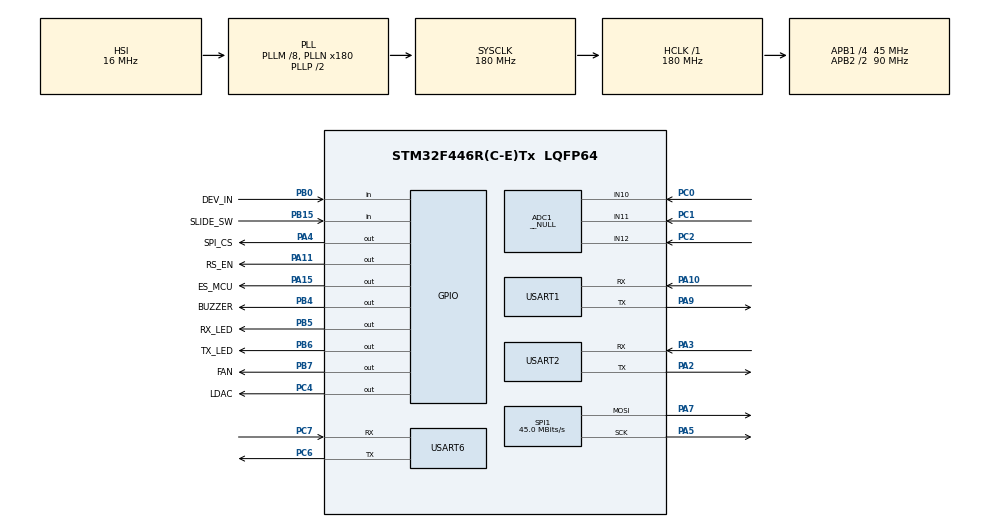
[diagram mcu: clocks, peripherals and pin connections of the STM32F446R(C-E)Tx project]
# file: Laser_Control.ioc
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ADC1.Channel-0\#ChannelRegularConversion=ADC_CHANNEL_10
ADC1.Channel-1\#ChannelRegularConversion=ADC_CHANNEL_11
ADC1.Channel-2\#ChannelRegularConversion=ADC_CHANNEL_12
ADC1.Channel-3\#ChannelRegularConversion=ADC_CHANNEL_VREFINT
ADC1.ClockPrescaler=ADC_CLOCK_SYNC_PCLK_DIV6
ADC1.ContinuousConvMode=ENABLE
ADC1.DMAContinuousRequests=ENABLE
ADC1.InjNumberOfConversion=0
ADC1.Mode=__NULL
ADC1.NbrOfConversion=4
ADC1.NbrOfConversionFlag=1
ADC1.Rank-0\#ChannelRegularConversion=1
ADC1.Rank-1\#ChannelRegularConversion=2
ADC1.Rank-2\#ChannelRegularConversion=3
ADC1.Rank-3\#ChannelRegularConversion=4
ADC1.SamplingTime-0\#ChannelRegularConversion=ADC_SAMPLETIME_144CYCLES
ADC1.SamplingTime-1\#ChannelRegularConversion=ADC_SAMPLETIME_144CYCLES
ADC1.SamplingTime-2\#ChannelRegularConversion=ADC_SAMPLETIME_144CYCLES
ADC1.SamplingTime-3\#ChannelRegularConversion=ADC_SAMPLETIME_144CYCLES
ADC1.ScanConvMode=ENABLE
ADC1.master=1
Dma.ADC1.0.Direction=DMA_PERIPH_TO_MEMORY
Dma.ADC1.0.FIFOMode=DMA_FIFOMODE_DISABLE
Dma.ADC1.0.Instance=DMA2_Stream0
Dma.ADC1.0.MemDataAlignment=DMA_MDATAALIGN_WORD
Dma.ADC1.0.MemInc=DMA_MINC_ENABLE
Dma.ADC1.0.Mode=DMA_CIRCULAR
Dma.ADC1.0.PeriphDataAlignment=DMA_PDATAALIGN_WORD
Dma.ADC1.0.PeriphInc=DMA_PINC_DISABLE
Dma.ADC1.0.Priority=DMA_PRIORITY_HIGH
Dma.Request0=ADC1
Mcu.Family=STM32F4
Mcu.Name=STM32F446R(C-E)Tx
Mcu.Package=LQFP64
NVIC.DMA2_Stream0_IRQn=true\:0\:0\:false\:false\:true\:false\:true\:true
NVIC.PriorityGroup=NVIC_PRIORITYGROUP_4
NVIC.TIM6_DAC_IRQn=true\:0\:0\:false\:false\:true\:true\:true\:true
NVIC.USART1_IRQn=true\:0\:0\:false\:false\:true\:true\:true\:true
NVIC.USART2_IRQn=true\:0\:0\:false\:false\:true\:true\:true\:true
NVIC.USART6_IRQn=true\:0\:0\:false\:false\:true\:true\:true\:true
PA10.Mode=Asynchronous
PA10.Signal=USART1_RX
PA11.GPIO_Label=RS_EN
PA11.Signal=GPIO_Output
PA13.Mode=Serial_Wire
PA13.Signal=SYS_JTMS-SWDIO
PA14.Mode=Serial_Wire
PA14.Signal=SYS_JTCK-SWCLK
PA15.GPIO_Label=ES_MCU
PA15.Signal=GPIO_Output
PA2.Mode=Asynchronous
PA2.Signal=USART2_TX
PA3.Mode=Asynchronous
PA3.Signal=USART2_RX
PA4.GPIO_Label=SPI_CS
PA4.Signal=GPIO_Output
PA5.Mode=TX_Only_Simplex_Unidirect_Master
PA5.Signal=SPI1_SCK
PA7.Mode=TX_Only_Simplex_Unidirect_Master
PA7.Signal=SPI1_MOSI
PA9.Mode=Asynchronous
PA9.Signal=USART1_TX
PB0.GPIO_Label=DEV_IN
PB0.Signal=GPIO_Input
PB15.GPIO_Label=SLIDE_SW
PB15.Signal=GPIO_Input
PB4.GPIO_Label=BUZZER
PB4.Signal=GPIO_Output
PB5.GPIO_Label=RX_LED
PB5.Signal=GPIO_Output
PB6.GPIO_Label=TX_LED
PB6.Signal=GPIO_Output
PB7.GPIO_Label=FAN
PB7.Signal=GPIO_Output
PC0.Signal=ADCx_IN10
PC1.Signal=ADCx_IN11
PC2.Signal=ADCx_IN12
PC4.GPIO_Label=LDAC
PC4.Signal=GPIO_Output
PC6.Mode=Asynchronous
PC6.Signal=USART6_TX
PC7.Mode=Asynchronous
PC7.Signal=USART6_RX
ProjectManager.HeapSize=0x200
ProjectManager.StackSize=0x400
ProjectManager.TargetToolchain=STM32CubeIDE
RCC.AHBFreq_Value=180000000
RCC.APB1CLKDivider=RCC_HCLK_DIV4
RCC.APB1Freq_Value=45000000
RCC.APB1TimFreq_Value=90000000
RCC.APB2CLKDivider=RCC_HCLK_DIV2
RCC.APB2Freq_Value=90000000
RCC.APB2TimFreq_Value=180000000
RCC.CortexFreq_Value=180000000
RCC.HCLKFreq_Value=180000000
RCC.PLLM=8
RCC.PLLN=180
RCC.SYSCLKFreq_VALUE=180000000
RCC.SYSCLKSource=RCC_SYSCLKSOURCE_PLLCLK
RCC.USBFreq_Value=180000000
RCC.VCOOutputFreq_Value=360000000
SH.ADCx_IN10.0=ADC1_IN10,IN10
SH.ADCx_IN11.0=ADC1_IN11,IN11
SH.ADCx_IN12.0=ADC1_IN12,IN12
SPI1.BaudRatePrescaler=SPI_BAUDRATEPRESCALER_2
SPI1.CalculateBaudRate=45.0 MBits/s
SPI1.Direction=SPI_DIRECTION_2LINES
SPI1.Mode=SPI_MODE_MASTER
SPI1.VirtualType=VM_MASTER
TIM6.AutoReloadPreload=TIM_AUTORELOAD_PRELOAD_ENABLE
TIM6.Period=1000
TIM6.Prescaler=1800
USART1.VirtualMode=VM_ASYNC
USART2.VirtualMode=VM_ASYNC
USART6.VirtualMode=VM_ASYNC
VP_ADC1_Vref_Input.Mode=IN-Vrefint
VP_TIM6_VS_ClockSourceINT.Mode=Enable_Timer
board=custom

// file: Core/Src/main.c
/* USER CODE BEGIN Header */
/**
  ******************************************************************************
  * @file           : main.c
  * @brief          : Main program body
  ******************************************************************************
  * @attention
  *
  * Copyright (c) 2023 STMicroelectronics.
  * All rights reserved.
  *
  * This software is licensed under terms that can be found in the LICENSE file
  * in the root directory of this software component.
  * If no LICENSE file comes with this software, it is provided AS-IS.
  *
  ******************************************************************************
  */
/* USER CODE END Header */
#include "main.h"
#include "adc.h"
#include "dma.h"
#include "spi.h"
#include "tim.h"
#include "usart.h"
#include "gpio.h"

/* USER CODE BEGIN Includes */
#include "SerialHandler.h"
#include "peripherals.h"
#include "MessageHandler.h"
#include "stdlib.h"
/* USER CODE END Includes */

/* USER CODE BEGIN PD */
#define VREFIN_CAL ((uint16_t*)((uint32_t)0x1FFF7A2A))
/* USER CODE END PD */

void SystemClock_Config(void);
/* USER CODE BEGIN PFP */

void ADC_Average_Measurement_Calculator();
float PT500_Real_Temperature_Value_Calculation();
float Voltage_Conversion();
float Current_Conversion();
void Temperature_Fail_Check();
void Short_Circuit_Check();
/* USER CODE END PFP */

/* USER CODE BEGIN 0 */
extern  uint32_t gADC_Val[4];

uint16_t gMeasurments_Values[100][3];
uint8_t gMeasurments_counter=0;
uint32_t gMeasurments_avgValue[3];
uint8_t gTemp_State=0;
uint8_t gCurrent_State=0;

float OPAMP_Temperature;
float OPAMP_Voltage;
float OPAMP_Current;

float gTemp;
uint8_t Mode_Flag;
volatile uint8_t gSlope[250];
uint32_t iCounter=0;
uint8_t gCoefficient=0;
uint8_t tPer;
/* USER CODE END 0 */

int main(void)
{

  /* MCU Configuration--------------------------------------------------------*/

  /* Reset of all peripherals, Initializes the Flash interface and the Systick. */
  HAL_Init();

  /* Configure the system clock */
  SystemClock_Config();

  /* Initialize all configured peripherals */
  MX_GPIO_Init();
  MX_SPI1_Init();
  MX_USART1_UART_Init();
  MX_USART2_UART_Init();
  MX_DMA_Init();
  MX_TIM6_Init();
  MX_USART6_UART_Init();
  MX_ADC1_Init();
  /* USER CODE BEGIN 2 */
  Init_UartHandler(Init_USB_Uart, &huart6);
  Init_UartHandler(Init_RS485_Uart, &huart1);
  Init_UartHandler(Init_RS232_Uart, &huart2);
  HAL_TIM_Base_Start_IT(&htim6);
  /* USER CODE END 2 */

  /* Infinite loop */
  /* USER CODE BEGIN WHILE */
  uint32_t tLapTime = 0;
  HAL_GPIO_WritePin(BUZZER_GPIO_Port, BUZZER_Pin, GPIO_PIN_SET);
  HAL_Delay(100);
  HAL_GPIO_WritePin(BUZZER_GPIO_Port, BUZZER_Pin, GPIO_PIN_RESET);

  HAL_GPIO_WritePin(ES_MCU_GPIO_Port, ES_MCU_Pin, GPIO_PIN_RESET);

  HAL_ADC_Start_DMA(&hadc1, gADC_Val, 4);

  HAL_Delay(100);

  uint8_t j;

  for(j=0;j<=100;j++)
  {
	  ADC_Average_Measurement_Calculator();
  }

  while (1)
  {
	  ADC_Average_Measurement_Calculator();
	  OPAMP_Temperature=PT500_Real_Temperature_Value_Calculation();
	  OPAMP_Voltage=Voltage_Conversion();
	  OPAMP_Current=Current_Conversion();

	  IO_check_timeout();
	  HandleMessage(&gUSB_CommStruct);
	  char * ptr = strstr(gRS232_CommStruct.buffer, "Temp:");

	  if(NULL != ptr)
	  	  {
	  		  HAL_Delay(50);
	  		  uint32_t temp = strtol(ptr + 6, NULL, 10);
	  		  gTemp = (float)(((float)temp - 2732.00) / 10.00);
	  		  printf("IR_Temp: %.02f\r\n", gTemp);
	  		  UartHandler_ClearBuffer(RS232_Uart_Handler);
	  		  Laser_Target_Temp_Check();

	  	  }

	  if(HAL_GetTick() - tLapTime > 1000)
	  {
		  printf("Current: %.3f,Output Voltage: %.3f,OPAMP Temp: %.3f Celsius\r\n", OPAMP_Current, OPAMP_Voltage, OPAMP_Temperature);
		  tLapTime = HAL_GetTick();
	  }

	  Temperature_Fail_Check();
	  Short_Circuit_Check();

    /* USER CODE END WHILE */

  }
}

void SystemClock_Config(void)
{
  RCC_OscInitTypeDef RCC_OscInitStruct = {0};
  RCC_ClkInitTypeDef RCC_ClkInitStruct = {0};

  /** Configure the main internal regulator output voltage
  */
  __HAL_RCC_PWR_CLK_ENABLE();
  __HAL_PWR_VOLTAGESCALING_CONFIG(PWR_REGULATOR_VOLTAGE_SCALE1);

  /** Initializes the RCC Oscillators according to the specified parameters
  * in the RCC_OscInitTypeDef structure.
  */
  RCC_OscInitStruct.OscillatorType = RCC_OSCILLATORTYPE_HSI;
  RCC_OscInitStruct.HSIState = RCC_HSI_ON;
  RCC_OscInitStruct.HSICalibrationValue = RCC_HSICALIBRATION_DEFAULT;
  RCC_OscInitStruct.PLL.PLLState = RCC_PLL_ON;
  RCC_OscInitStruct.PLL.PLLSource = RCC_PLLSOURCE_HSI;
  RCC_OscInitStruct.PLL.PLLM = 8;
  RCC_OscInitStruct.PLL.PLLN = 180;
  RCC_OscInitStruct.PLL.PLLP = RCC_PLLP_DIV2;
  RCC_OscInitStruct.PLL.PLLQ = 2;
  RCC_OscInitStruct.PLL.PLLR = 2;
  if (HAL_RCC_OscConfig(&RCC_OscInitStruct) != HAL_OK)
  {
    Error_Handler();
  }

  /** Activate the Over-Drive mode
  */
  if (HAL_PWREx_EnableOverDrive() != HAL_OK)
  {
    Error_Handler();
  }

  /** Initializes the CPU, AHB and APB buses clocks
  */
  RCC_ClkInitStruct.ClockType = RCC_CLOCKTYPE_HCLK|RCC_CLOCKTYPE_SYSCLK
                              |RCC_CLOCKTYPE_PCLK1|RCC_CLOCKTYPE_PCLK2;
  RCC_ClkInitStruct.SYSCLKSource = RCC_SYSCLKSOURCE_PLLCLK;
  RCC_ClkInitStruct.AHBCLKDivider = RCC_SYSCLK_DIV1;
  RCC_ClkInitStruct.APB1CLKDivider = RCC_HCLK_DIV4;
  RCC_ClkInitStruct.APB2CLKDivider = RCC_HCLK_DIV2;

  if (HAL_RCC_ClockConfig(&RCC_ClkInitStruct, FLASH_LATENCY_5) != HAL_OK)
  {
    Error_Handler();
  }
}

/* USER CODE BEGIN 4 */
void HAL_TIM_PeriodElapsedCallback(TIM_HandleTypeDef *htim)
{
  if(htim == &htim6)
  {
	  HAL_GPIO_WritePin(RX_LED_GPIO_Port, RX_LED_Pin, GPIO_PIN_RESET);

	  if(Mode_Flag==1)
      {
		  gSlope[iCounter]=gTemp;

		  iCounter++;

		  if(iCounter>250)
		  {
              if((gSlope[249]-gSlope[0])>=5)
              {
            	  gCoefficient=0;
              }
              else
              {
            	  gCoefficient=30;
              }
			  Mode_Flag=0;
		      iCounter=0;
		  }
      }
  }
}

void HAL_ADC_ConvCpltCallback(ADC_HandleTypeDef* hadc)
{
  // HAL_GPIO_TogglePin(RX_LED_GPIO_Port, RX_LED_Pin);
}

void ADC_Average_Measurement_Calculator()
{
	uint8_t i; uint8_t ADC_Counter; uint32_t New_tSum[3]={0};

	if(gMeasurments_counter>=100)
	{

	gMeasurments_counter=0;

    for(ADC_Counter=0;ADC_Counter<3;ADC_Counter++)
    {
		for(i=0;i<100;i++)
		{

			New_tSum[ADC_Counter]=New_tSum[ADC_Counter]+gMeasurments_Values[i][ADC_Counter];

			gMeasurments_avgValue[ADC_Counter]=New_tSum[ADC_Counter]/(i+1);
		}
    }

	}

	gMeasurments_Values[gMeasurments_counter][0]=gADC_Val[0]; // Current
	gMeasurments_Values[gMeasurments_counter][1]=gADC_Val[1]; // Voltage
	gMeasurments_Values[gMeasurments_counter][2]=gADC_Val[2]; // PT500
	gMeasurments_counter++;

}

float PT500_Real_Temperature_Value_Calculation()
{
	float Temperature_Value=0; float Voltage_Expression=0; float Resistor_Value=0;

	Voltage_Expression=((float)(gMeasurments_avgValue[2])* 3.3320 / 4.0950)/1000.0000;

	Resistor_Value=((Voltage_Expression/71.6000)*110000.0000)/(3.3320-(Voltage_Expression/71.6000));

	Temperature_Value=(Resistor_Value-500.0000)/1.7;

	return Temperature_Value;

}

float Voltage_Conversion()
{
	float Voltage_Expression=0;

	Voltage_Expression=(((float)(gMeasurments_avgValue[1]) * 11.0 * 3.332) / 4095.0);

	return Voltage_Expression;

}

float Current_Conversion()
{
	float Current_Expression=0;

	//VDDA = (float)3.300*( (float)*VREFIN_CAL) /  (float)gADC_Val[3];

	Current_Expression=(((float)gMeasurments_avgValue[0]* 3.332 / 4095.000)/25.000)/0.005;

	return Current_Expression;

}

void Temperature_Fail_Check()

{
	if(PT500_Real_Temperature_Value_Calculation()>=75&&gTemp_State==0)
	{
		DAC_sendCommand(0, 1, 1, 0);
		HAL_Delay(100);
		HAL_GPIO_WritePin(ES_MCU_GPIO_Port, ES_MCU_Pin, GPIO_PIN_RESET);
		Buzzer_Effects(2);
		HAL_GPIO_WritePin(FAN_GPIO_Port, FAN_Pin, GPIO_PIN_RESET);
		printf("Laser shut down, temperature is higher then 110 celsius\r\n");
		gTemp_State=1;
	}
	else if(PT500_Real_Temperature_Value_Calculation()<75)
	{
		gTemp_State=0;
	}

}

void Short_Circuit_Check()
{
	if(gADC_Val[0]>=925&&gCurrent_State==0)
	{
		DAC_sendCommand(0, 1, 1, 0);
		HAL_Delay(100);
		HAL_GPIO_WritePin(ES_MCU_GPIO_Port, ES_MCU_Pin, GPIO_PIN_RESET);
		Buzzer_Effects(2);
		HAL_GPIO_WritePin(FAN_GPIO_Port, FAN_Pin, GPIO_PIN_RESET);
		printf("Laser shut down, excessive current detected\r\n");
		gCurrent_State=1;
	}
	else if(gADC_Val[0]<925)
	{
		gCurrent_State=0;
	}
}

/* USER CODE END 4 */

void Error_Handler(void)
{
  __disable_irq();
  while (1)
  {
  }
}
